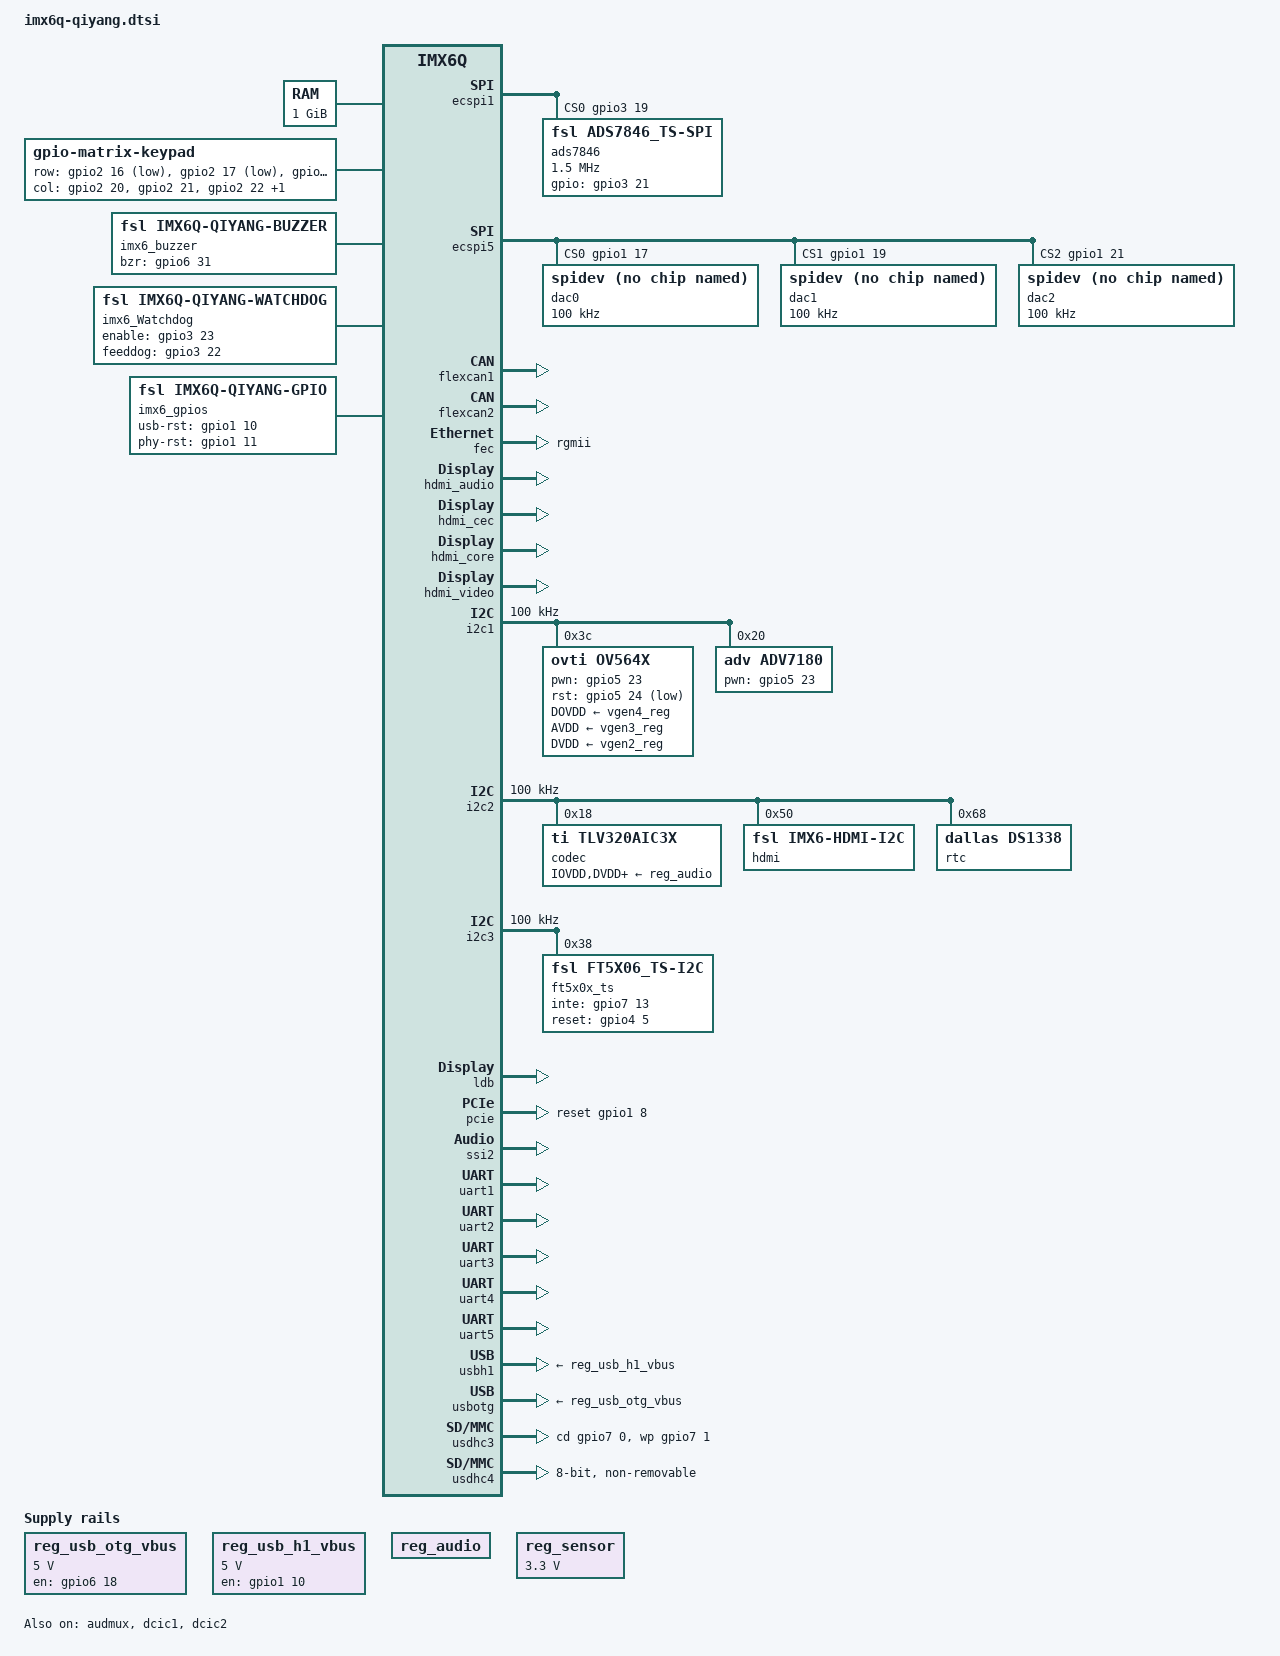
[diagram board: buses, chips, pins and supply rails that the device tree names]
 /*
	* Copyright 2012 Freescale Semiconductor, Inc.
	* Copyright 2011 Linaro Ltd.
	*
	* The code contained herein is licensed under the GNU General Public
	* License. You may obtain a copy of the GNU General Public License
	* Version 2 or later at the following locations:
	*
	* http://www.opensource.org/licenses/gpl-license.html
	* http://www.gnu.org/copyleft/gpl.html
	*/ 

 / {
	 aliases {
		 mxcfb0 = &mxcfb1;
		 mxcfb1 = &mxcfb2;
		 mxcfb2 = &mxcfb3;
		 mxcfb3 = &mxcfb4;
	 };
 
	 memory {
		 reg = <0x10000000 0x40000000>;
	 };
	 
	 hannstar_cabc {
		 compatible = "hannstar,cabc";
 
		 lvds0 {
			 gpios = <&gpio6 15 GPIO_ACTIVE_HIGH>;
		 };
 
		 lvds1 {
			 gpios = <&gpio6 16 GPIO_ACTIVE_HIGH>;
		 };
	 };

 
	 regulators {
		 compatible = "simple-bus";
 
		 reg_usb_otg_vbus: usb_otg_vbus {
			 compatible = "regulator-fixed";
			 regulator-name = "usb_otg_vbus";
			 regulator-min-microvolt = <5000000>;
			 regulator-max-microvolt = <5000000>;
			 gpio = <&gpio6 18 0>;
			 enable-active-high;
		 };
 
		 reg_usb_h1_vbus: usb_h1_vbus {
			 compatible = "regulator-fixed";
			 regulator-name = "usb_h1_vbus";
			 regulator-min-microvolt = <5000000>;
			 regulator-max-microvolt = <5000000>;
			 gpio = <&gpio1 10 0>;
			 enable-active-high;
		 };
 
 
		 reg_audio: tlv320aic3x_supply {
			 compatible = "regulator-fixed";
			 regulator-name = "tlv320aic3x-supply";
		 };
 
		 reg_sensor: sensor_supply {
			 compatible = "regulator-fixed";
			 regulator-name = "sensor-supply";
			 regulator-min-microvolt = <3300000>;
			 regulator-max-microvolt = <3300000>;
			 startup-delay-us = <500>;
			 enable-active-high;
		 };
	};
/*	 
	 gpio-keys {
		 compatible = "gpio-keys";
		 power {
			 label = "Power Button";
			 gpios = <&gpio1 21 0>;
			 linux,code = <116>; /* KEY_POWER 
			 gpio-key,wakeup;
		 };
	 };
*/ 


	 matrix-keypad {
			 compatible = "gpio-matrix-keypad";
			 debounce-delay-ms = <5>;
			 col-scan-delay-us = <1000>;
			 gpio-activelow;
	 
			 row-gpios = <&gpio2 16 1
							&gpio2 17 1
							&gpio2 18 1
							&gpio2 19 1>;
	 
			 col-gpios = <&gpio2 20 0
							&gpio2 21 0
							&gpio2 22 0
							&gpio2 23 0>;
	 
			 linux,keymap = <0x00000002
					 0x01000003
					 0x02000004
					 0x030000AE
					 0x00010005
					 0x01010006
					 0x02010007
					 0x03010067
					 0x00020008
					 0x01020009
					 0x0202000a
					 0x0302006c
					 0x0003000e
					 0x0103000b
					 0x02030034
					 0x0303001c>;
			 keypad,num-rows = <4>;
			 keypad,num-columns = <4>;
			 status = "okay";
		 };


	 sound {
			compatible = "fsl,imx-audio-tlv320aic3x";
			model = "tlv320aic3x-audio";
			//cpu-dai = <&ssi2>;  
			ssi-controller = <&ssi2>;			 //must be care
			audio-codec = <&codec>;
			audio-routing =
			"Headphone Jack", "HPOUTL",
			"Headphone Jack", "HPOUTR",
			"Ext Spk", "HPLOUT",
			"Ext Spk", "HPROUT",
			"LINE1L", "Mic Bias",
			"Mic Bias", "DMIC";
			 mux-int-port = <2>;
			 mux-ext-port = <4>;
	 }; 	 
 
		sound-hdmi {
			compatible = "fsl,imx6q-audio-hdmi",
					"fsl,imx-audio-hdmi";
			model = "imx-audio-hdmi";
			hdmi-controller = <&hdmi_audio>;
		};

		imx6_buzzer{
			 compatible = "fsl,imx6q-qiyang-buzzer";
			 bzr-gpios = <&gpio6 31 0>;
			 status = "okay";
		};

		imx6_Watchdog {
			compatible = "fsl,imx6q-qiyang-watchdog";
			enable-gpios = <&gpio3 23 0 >;
			feeddog-gpios = <&gpio3 22 0 >;         
			status = "okay";
		};
	 
		imx6_gpios{
			compatible = "fsl,imx6q-qiyang-gpio";
			usb-rst-gpios = <&gpio1 10 0>;
			phy-rst-gpios = <&gpio1 11 0>;
			status = "okay";
		};

	  mxcfb1: fb@0 {
		 compatible = "fsl,mxc_sdc_fb";
		 disp_dev = "ldb";
		 interface_pix_fmt = "RGB666";
		 default_bpp = <16>;
		 int_clk = <0>;
		 late_init = <0>;
		 status = "disabled";
	 };
 
	 mxcfb2: fb@1 {
		 compatible = "fsl,mxc_sdc_fb";
		 disp_dev = "hdmi";
		 interface_pix_fmt = "RGB24";
		 mode_str ="1920x1080M@60";
		 default_bpp = <24>;
		 int_clk = <0>;
		 late_init = <0>;
		 status = "disabled";
	 };
 
	 mxcfb3: fb@2 {
		 compatible = "fsl,mxc_sdc_fb";
		 disp_dev = "lcd";
		 interface_pix_fmt = "RGB24";
		 mode_str ="QY-VGA-1024X768";
		 default_bpp = <24>;
		 int_clk = <0>;
		 late_init = <0>;
		 status = "disabled";
	 };
 
	 mxcfb4: fb@3 {
		 compatible = "fsl,mxc_sdc_fb";
		 disp_dev = "ldb";
		 interface_pix_fmt = "RGB666";
		 default_bpp = <16>;
		 int_clk = <0>;
		 late_init = <0>;
		 status = "disabled";
	 };
 
	 lcd@0 {
		 compatible = "fsl,lcd";
		 ipu_id = <0>;
		 disp_id = <0>;
		 default_ifmt = "RGB24";
		 pinctrl-names = "default";
		 pinctrl-0 = <&pinctrl_ipu1_1>;
		 status = "okay";
	 };
 
	 v4l2_cap_0 {
		 compatible = "fsl,imx6q-v4l2-capture";
		 ipu_id = <0>;
		 csi_id = <0>;
		 mclk_source = <0>;
		 status = "okay";
	 };
 
	 v4l2_cap_1 {
		 compatible = "fsl,imx6q-v4l2-capture";
		 ipu_id = <0>;
		 csi_id = <1>;
		 mclk_source = <0>;
		 status = "okay";
	 };
 
	 v4l2_out {
		 compatible = "fsl,mxc_v4l2_output";
		 status = "okay";
	 };
	 
 };

 &caam_sm {
   status = "disabled";
 };

 
 &audmux {
	 pinctrl-names = "default";
	 pinctrl-0 = <&pinctrl_audmux_1>;
	 status = "okay";
 };
 
 
 &cpu0 {
	 arm-supply = <&sw1a_reg>;
	 soc-supply = <&sw1c_reg>;
	 pu-supply = <&reg_pu>; /* use pu_dummy if VDDSOC share with VDDPU */
 };
 
 &ecspi1 {
	 fsl,spi-num-chipselects = <1>;
	 cs-gpios = <&gpio3 19 0>;
	 pinctrl-names = "default";
	 pinctrl-0 = <&pinctrl_ecspi1_1>,<&pinctrl_ecspi1_cs_1>;
	 status = "okay";
/*
	 ads7846@0 {
		reg = <0>;
		#address-cells = <1>;
		#size-cells = <1>;
		compatible = "ti,ads7846";
		interrupt-parent = <&gpio3>;
		interrupts = <21 0>;
		spi-max-frequency = <1500000>;
    pendown-gpio = <&gpio3 21 0>; 
    vcc-supply = <&reg_sensor>;
		ti,x-max = /bits/ 16 <800>;
		ti,y-max = /bits/ 16 <480>;
		ti,x-plate-ohms = /bits/ 16 <180>;
		ti,pressure-max = /bits/ 16 <255>;
    ti,settle-delay-usec = /bits/ 16 <150>;
		ti,debounce-max = /bits/ 16 <10>;
		ti,debounce-tol = /bits/ 16 <3>;
		ti,debounce-rep = /bits/ 16 <1>;
		ti,keep-vref-on;
		ti,swap-xy;
		linux,wakeup;
		};
*/

 ads7846: ads7846@0{
          reg = <0>;
			//	#address-cells = <1>;
			//	#size-cells = <1>;
				 compatible = "fsl,ads7846_ts-spi";
				 spi-max-frequency = <1500000>;
				 gpios = <&gpio3 21 0>;
  };
 };


 &ecspi5 {
	 fsl,spi-num-chipselects = <3>;
	 cs-gpios = <&gpio1 17 0>,<&gpio1 19 0>,<&gpio1 21 0>;
	 pinctrl-names = "default";
	 pinctrl-0 = <&pinctrl_ecspi5_1>;
	 status = "okay";
	 
	 dac0: dh2228@0{
	 	compatible = "rohm,dh2228fv";
		reg = <0>;
		spi-max-frequency = <100000>;
	 };

	 dac1: dh2228@1{
	 	compatible = "rohm,dh2228fv";
		reg = <1>;
		spi-max-frequency = <100000>;
	 };

	 dac2: dh2228@2{
	 	compatible = "rohm,dh2228fv";
		reg = <2>;
		spi-max-frequency = <100000>;
	 };	 
 };


&flexcan1
{
	pinctrl-names = "default";
	pinctrl-0 = <&pinctrl_flexcan1_1>;
  status = "okay";
};

 &flexcan2
 {
	 pinctrl-names = "default";
	 pinctrl-0 = <&pinctrl_flexcan2_1>;
	 status = "okay";
 };
	
 &fec {
	 pinctrl-names = "default";
	 pinctrl-0 = <&pinctrl_enet_1>;
	 phy-mode = "rgmii";
	 status = "okay";
 };
 
 &gpc {
	 fsl,cpu_pupscr_sw2iso = <0xf>;
	 fsl,cpu_pupscr_sw = <0xf>;
	 fsl,cpu_pdnscr_iso2sw = <0x1>;
	 fsl,cpu_pdnscr_iso = <0x1>;
 };
 
 
 &gpu {
 
 };
 
 &hdmi_audio {
	 status = "okay";
 };
 
 &hdmi_cec {
	 pinctrl-names = "default";
//	 pinctrl-0 = <&pinctrl_hdmi_cec_2>; 
	 status = "okay";
 };
 
 &hdmi_core {
	 ipu_id = <0>;
	 disp_id = <0>;
	 status = "okay";
 };
 
 &hdmi_video {
	 fsl,phy_reg_vlev = <0x0294>;
	 fsl,phy_reg_cksymtx = <0x800d>;
	 status = "okay";
 };
 
 &i2c1 {
	 clock-frequency = <100000>;
	 pinctrl-names = "default";
	 pinctrl-0 = <&pinctrl_i2c1_2>;
	 status = "okay";
 
	 ov564x: ov564x@3c {
		 compatible = "ovti,ov564x";
		 reg = <0x3c>;
		 pinctrl-names = "default";
		 pinctrl-0 = <&pinctrl_ipu1_2>;
		 clocks = <&clks 201>;
		 clock-names = "csi_mclk";
		 DOVDD-supply = <&vgen4_reg>; /* 1.8v */
		 AVDD-supply = <&vgen3_reg>;	/* 2.8v, on rev C board is VGEN3,
						 on rev B board is VGEN5 */
		 DVDD-supply = <&vgen2_reg>;	/* 1.5v*/
		 pwn-gpios = <&gpio5 23 GPIO_ACTIVE_HIGH>;		/* active low: SD1_DAT0 */
		 rst-gpios = <&gpio5 24 GPIO_ACTIVE_LOW>; 	/* active high: SD1_DAT1 */
		 csi_id = <0>;
		 mclk = <24000000>;
		 mclk_source = <0>;
	 };

		adv7180: adv7180@20 {
			compatible = "adv,adv7180";
			reg = <0x20>;
			pinctrl-names = "default";
			pinctrl-0 = <&pinctrl_ipu1_2>;
			clocks = <&clks 201>;
			clock-names = "csi_mclk";
			pwn-gpios = <&gpio5 23 GPIO_ACTIVE_HIGH>;		/* active low: SD1_DAT0 */
			csi_id = <0>;
			mclk = <24000000>;
			mclk_source = <0>;
			cvbs;
		};
 };
 
 &i2c2 {
	 clock-frequency = <100000>;
	 pinctrl-names = "default";
	 pinctrl-0 = <&pinctrl_i2c2_2>;
	 status = "okay";
 
	 codec: tlv320aic3x@18 {
	 compatible = "ti,tlv320aic3x";
	 reg = <0x18>;
	 clocks = <&clks 201>;
	 ai3x-micbias-vg = <2>;
 
	 IOVDD-supply = <&reg_audio>;
	 DVDD-supply =	<&reg_audio>;
	 AVDD-supply =	<&reg_audio>;
	 DRVDD-supply = <&reg_audio>;
	 };
	 
	 hdmi: edid@50 {
		 compatible = "fsl,imx6-hdmi-i2c";
		 reg = <0x50>;
		 status = "okay";
	 };

   rtc: ds1338@68 {
		 compatible = "dallas,ds1338";
		 reg = <0x68>;
		 status = "okay";
	 };
 };
 
 &i2c3 {
				 clock-frequency = <100000>;
				 pinctrl-names = "default";
				 pinctrl-0 = <&pinctrl_i2c3_2>;
				 status = "okay";
 
				 ft5x0x_ts:ft5x0x_ts@0 {
				 compatible = "fsl,ft5x06_ts-i2c";
				 reg = <0x38>;
				 inte-gpios  = <&gpio7 13 0>;
				 reset-gpios = <&gpio4 5  0>;
				 status = "okay"; 		//if remove  add by deng
				 };
 };
 
 &iomuxc {
	 pinctrl-names = "default";
	 pinctrl-0 = <&pinctrl_hog_1>;
 
	 hog {
		 pinctrl_hog_1: hoggrp-1 {
			 fsl,pins = <
				MX6QDL_PAD_GPIO_18__GPIO7_IO13 	  0x80000000 	 // touchscreen interrupt pin
				MX6QDL_PAD_GPIO_19__GPIO4_IO05 	  0x80000000 	 // touchscreen reset	pin
				MX6QDL_PAD_NANDF_CS0__GPIO6_IO11  0x80000000   // AMP L 
				MX6QDL_PAD_NANDF_CS1__GPIO6_IO14  0x80000000   // AMP R				
				MX6QDL_PAD_SD3_DAT5__GPIO7_IO00	  0x80000000 	 // sd3	cd 
				MX6QDL_PAD_SD3_DAT4__GPIO7_IO01	  0x80000000 	 // sd3	wp
				MX6QDL_PAD_CSI0_DAT4__GPIO5_IO22  0x80000000 	 // camera pwn
				MX6QDL_PAD_CSI0_DAT5__GPIO5_IO23  0x80000000 	 // camera rst
				MX6QDL_PAD_GPIO_0__CCM_CLKO1 		  0x130b0			 // AUDIO_MCLK
				MX6QDL_PAD_GPIO_7__GPIO1_IO07		  0x80000000 	 // pcie  disabled
				MX6QDL_PAD_GPIO_8__GPIO1_IO08		  0x80000000 	 // pcie  reset
				MX6QDL_PAD_SD3_DAT6__GPIO6_IO18	  0x80000000 	 // USB_OTG_PWR
				MX6QDL_PAD_SD2_CLK__GPIO1_IO10 	  0x80000000 	 // USB_HUB_RSTn
				MX6QDL_PAD_EIM_BCLK__GPIO6_IO31   0x80000000   //buzzer
				MX6QDL_PAD_EIM_D23__GPIO3_IO23    0x80000000   //watch dog  enable
				MX6QDL_PAD_EIM_D22__GPIO3_IO22    0x80000000   //watch dog  feeddog
			 //	MX6QDL_PAD_EIM_D20__GPIO3_IO20    0x80000000   //ads7846 busy
			 //	MX6QDL_PAD_EIM_D19__GPIO3_IO19    0x80000000

        /* GPIO  J5 */
			  MX6QDL_PAD_NANDF_D0__GPIO2_IO00	0x80000000
			  MX6QDL_PAD_NANDF_D1__GPIO2_IO01	0x80000000
			  MX6QDL_PAD_NANDF_D2__GPIO2_IO02	0x80000000
			  MX6QDL_PAD_NANDF_D3__GPIO2_IO03	0x80000000
			  MX6QDL_PAD_NANDF_D4__GPIO2_IO04	0x80000000
			  MX6QDL_PAD_NANDF_D5__GPIO2_IO05	0x80000000
			  MX6QDL_PAD_NANDF_D6__GPIO2_IO06	0x80000000
			  MX6QDL_PAD_NANDF_D7__GPIO2_IO07	0x80000000
			  
        /* matrix keypad  J31 */
				MX6QDL_PAD_EIM_A22__GPIO2_IO16	0x80000000
				MX6QDL_PAD_EIM_A21__GPIO2_IO17	0x80000000
				MX6QDL_PAD_EIM_A20__GPIO2_IO18	0x80000000
				MX6QDL_PAD_EIM_A19__GPIO2_IO19	0x80000000
				MX6QDL_PAD_EIM_A18__GPIO2_IO20	0x80000000
				MX6QDL_PAD_EIM_A17__GPIO2_IO21	0x80000000
				MX6QDL_PAD_EIM_A16__GPIO2_IO22	0x80000000
				MX6QDL_PAD_EIM_CS0__GPIO2_IO23	0x80000000
			 >;
		 };
	 };
};
 
 &ldb {
	 status = "okay";
	 
	 lvds-channel@0 {
		 fsl,data-mapping = "spwg";
		 fsl,data-width = <18>;
		 status = "okay";
    
		 display-timings {
			 native-mode = <&timing0>;
			 timing0: hsd100pxn1 {
				 clock-frequency = <65000000>;
				 hactive = <1024>;
				 vactive = <600>;
				 hback-porch = <220>;
				 hfront-porch = <40>;
				 vback-porch = <21>;
				 vfront-porch = <7>;
				 hsync-len = <60>;
				 vsync-len = <10>;
			 };	 		
		 };
	 };
 
	 lvds-channel@1 {
		 fsl,data-mapping = "spwg";
		 fsl,data-width = <18>;
		 primary;
		 status = "okay";
		 
		 display-timings {
		   native-mode = <&timing1>;
			 timing1: hsd100pxn1 {
				 clock-frequency = <65000000>;
				 hactive = <1024>;
				 vactive = <600>;
				 hback-porch = <220>;
				 hfront-porch = <40>;
				 vback-porch = <21>;
				 vfront-porch = <7>;
				 hsync-len = <60>;
				 vsync-len = <10>;
			 };
		 };
	 };
}; 
 
 /* 	 display-timings {
			native-mode = <&timing2>;
			 timing2: hsd100pxn1 {
				clock-frequency = <65000000>;
				hactive = <1280>;
				vactive = <800>;
				hback-porch = <40>;
				hfront-porch = <40>;
				vback-porch = <10>;
				vfront-porch = <3>;
				hsync-len = <80>;
				vsync-len = <10>;
				}
			*/

 &dcic1 {
	 dcic_id = <0>;
	 dcic_mux = "dcic-hdmi";
	 status = "okay";
 };
 
 &dcic2 {
	 dcic_id = <1>;
	 dcic_mux = "dcic-lvds1";
	 status = "okay";
 };
 
 &pcie {
	 disable-gpio = <&gpio1 7 0>;
	 reset-gpio = <&gpio1 8 0>;
	 status = "okay";
 };
 
 &ssi2 {
	 fsl,mode = "i2s-slave";
	 status = "okay";
 };

 &uart1 {
	 pinctrl-names = "default";
	 pinctrl-0 = <&pinctrl_uart1_1>;
	 status = "okay";
 };
 
	 /* FIXME: RTS not compatible with RS485 */
 &uart2 {
	 pinctrl-names = "default";
	 pinctrl-0 = <&pinctrl_uart2_2>;
	 fsl,uart-has-rtscts;
	 status = "okay";
 };
 
	 /* FIXME: RTS not compatible with RS485 */
 &uart3 {
	 pinctrl-names = "default";
	 pinctrl-0 = <&pinctrl_uart3_2>;
	 fsl,uart-has-rtscts;
	 status = "okay";
 };
 
 &uart4 {
	 pinctrl-names = "default";
	 pinctrl-0 = <&pinctrl_uart4_1>;
	 status = "okay";
 };
 
 &uart5 {
	 pinctrl-names = "default";
	 pinctrl-0 = <&pinctrl_uart5_1>;
	 status = "okay";
 };
 
 
 &usbh1 {
	 vbus-supply = <&reg_usb_h1_vbus>;
	 status = "okay";
 };
 
 &usbotg {
	 vbus-supply = <&reg_usb_otg_vbus>;
	 pinctrl-names = "default";
	 pinctrl-0 = <&pinctrl_usbotg_2>;
	 disable-over-current;
	 status = "okay";
 };
 
 &usdhc3 {
	 pinctrl-names = "default";
	 pinctrl-0 = <&pinctrl_usdhc3_2>;
	 cd-gpios = <&gpio7 0 0>;          
	 wp-gpios = <&gpio7 1 0>;
	 no-1-8-v;
	 keep-power-in-suspend;
	 enable-sdio-wakeup;
	 status = "okay";
 };
 
 &usdhc4 {
	 pinctrl-names = "default";
	 pinctrl-0 = <&pinctrl_usdhc4_1>;
	 bus-width = <8>;
	 non-removable;
	 no-1-8-v;
	 keep-power-in-suspend;
	 status = "okay";
 };
 
 &vpu {
	 pu-supply = <&reg_pu>; /* ldo-bypass:use pu_dummy if VDDSOC share with VDDPU */
 };
